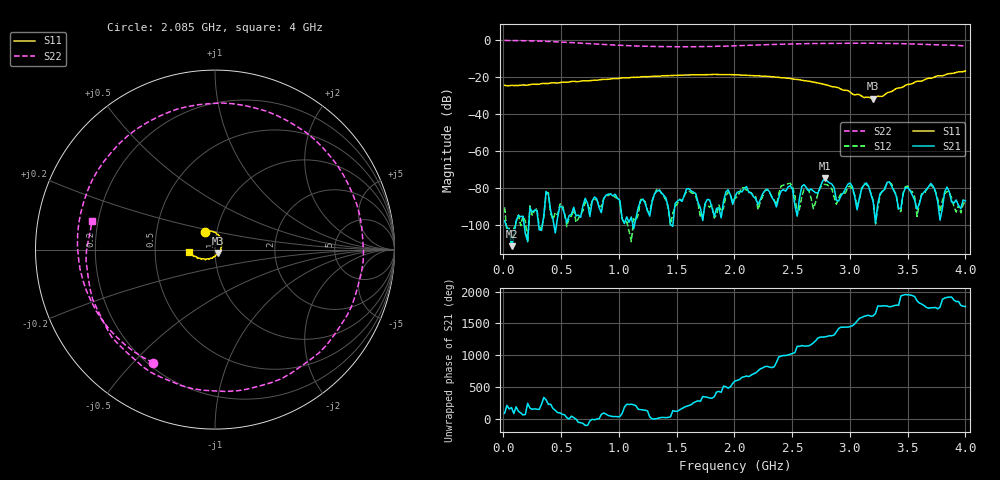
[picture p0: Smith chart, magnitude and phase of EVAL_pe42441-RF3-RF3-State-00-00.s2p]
! 9/28/2016 2:50:19 PM
! C:\USERS\ANRITSUUSER\DESKTOP\SWITCHES\EVAL_PE42441-RF3-RF3-STATE-00-00.S2P
! CHANNEL.1
! TR.MEASUREMENT
! CORRECTED.DATA
# GHZ S RI R 50.0
! FREQ.GHZ  S11RE  S11IM  S21RE  S21IM  S12RE  S12IM  S22RE  S22IM
!; PortSelection: Port_12
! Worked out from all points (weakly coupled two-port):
!   201 points, 10 MHz to 4 GHz, reference 50 ohm
!   highest |S21| = -74.66 dB at 2.783 GHz (marker M1); lowest = -111.3 dB at 69.85 MHz (marker M2)
!   lowest |S11| = -31.6 dB at 3.202 GHz (marker M3), VSWR 1.05, Z = 51.8 - j2 ohm
!   |S11| at or under -10 dB: start of sweep to end of sweep
!   |S22| runs from -3.6 to -0.2 dB; largest |S21 - S12| = 7.4e-05
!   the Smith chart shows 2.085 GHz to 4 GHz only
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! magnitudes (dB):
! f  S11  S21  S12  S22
! 10 MHz  -24.4  -97.6  -90.4  -0.2
! 69.85 MHz  -24.5  -111.3  -109.9  -0.2
! 688.3 MHz  -22.0  -89.4  -92.2  -1.7
! 1.347 GHz  -19.5  -81.1  -80.2  -3.5
! 2.005 GHz  -18.7  -84.5  -85.6  -3.1
! 2.484 GHz  -20.7  -78.6  -77.2  -2.1
! 2.524 GHz  -21.2  -89.3  -84.1  -2.0
! 2.683 GHz  -22.7  -81.5  -91.1  -1.8
! 2.743 GHz  -23.4  -79.3  -79.8  -1.7
! 2.783 GHz  -24.0  -74.7  -77.9  -1.7
! 2.883 GHz  -25.4  -86.4  -88.6  -1.7
! 3.002 GHz  -28.0  -77.2  -78.7  -1.6
! 3.102 GHz  -30.3  -80.1  -80.3  -1.7
! 3.142 GHz  -30.8  -77.2  -78.0  -1.6
! 3.202 GHz  -31.6  -87.5  -86.5  -1.7
! 3.302 GHz  -29.4  -80.6  -79.8  -1.8
! 3.342 GHz  -28.1  -76.6  -76.9  -1.8
! 3.382 GHz  -27.0  -81.4  -81.4  -1.9
! 3.661 GHz  -20.9  -80.8  -81.1  -2.3
! 3.701 GHz  -20.6  -77.5  -78.1  -2.4
! 3.741 GHz  -19.7  -81.7  -82.0  -2.5
! 4 GHz  -16.7  -86.9  -86.4  -3.1
